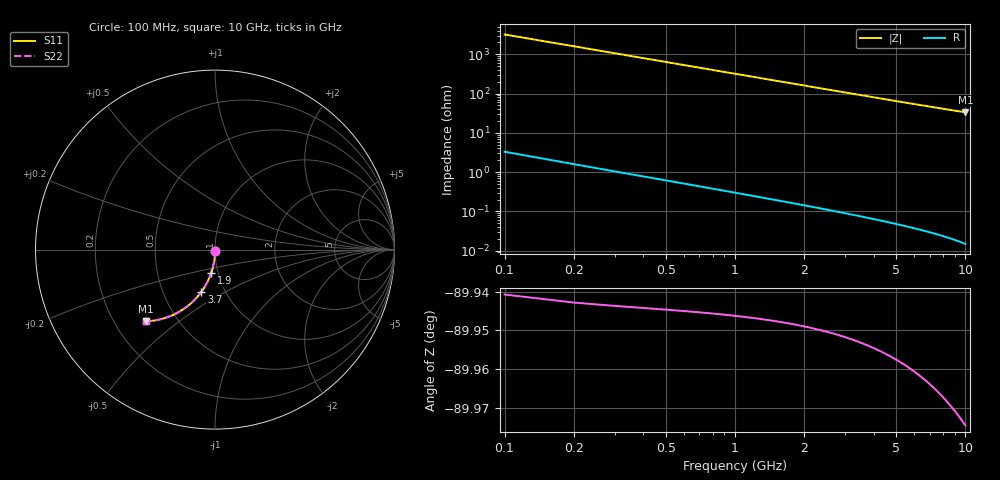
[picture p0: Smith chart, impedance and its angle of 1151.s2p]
# Hz S RI R 50.00
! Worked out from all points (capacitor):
!   100 points, 100 MHz to 10 GHz, reference 50 ohm
!   read as one part in shunt: C = 498 fF near 100 MHz
!   lowest |Z| = 33.4 ohm at 10 GHz (marker M1)
!   S11 on the Smith chart (normalised r, x): 100 MHz: 1.00, -0.01; 1.9 GHz: 0.93, -0.24; 3.7 GHz: 0.77, -0.39; 10 GHz: 0.33, -0.39
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1e8  0.000702 -0.00695  0.9992 -0.00869  0.9992 -0.00869  0.000702 -0.00695
2e8  0.000518 -0.0139  0.999 -0.0174  0.999 -0.0174  0.000518 -0.0139
3e8  0.000213 -0.0208  0.9986 -0.026  0.9986 -0.026  0.000213 -0.0208
4e8  -0.000214 -0.0278  0.9982 -0.0347  0.9982 -0.0347  -0.000214 -0.0278
5e8  -0.000761 -0.0347  0.9976 -0.0434  0.9976 -0.0434  -0.000761 -0.0347
6e8  -0.00143 -0.0416  0.9969 -0.052  0.9969 -0.052  -0.00143 -0.0416
7e8  -0.00222 -0.0485  0.9961 -0.0607  0.9961 -0.0607  -0.00222 -0.0485
8e8  -0.00312 -0.0554  0.9952 -0.0693  0.9952 -0.0693  -0.00312 -0.0554
9e8  -0.00415 -0.0622  0.9941 -0.0779  0.9941 -0.0779  -0.00415 -0.0622
1.1e9  -0.00655 -0.0759  0.9917 -0.095  0.9917 -0.095  -0.00655 -0.0759
1.4e9  -0.011 -0.0961  0.9871 -0.1204  0.9871 -0.1204  -0.011 -0.0961
1.8e9  -0.0185 -0.1225  0.9793 -0.1537  0.9793 -0.1537  -0.0185 -0.1225
1.9e9  -0.0207 -0.129  0.9771 -0.162  0.9771 -0.162  -0.0207 -0.129
2.2e9  -0.0278 -0.1482  0.9698 -0.1864  0.9698 -0.1864  -0.0278 -0.1482
2.6e9  -0.0387 -0.173  0.9586 -0.2181  0.9586 -0.2181  -0.0387 -0.173
3.4e9  -0.065 -0.2194  0.9316 -0.2785  0.9316 -0.2785  -0.065 -0.2194
3.7e9  -0.0762 -0.2356  0.9201 -0.2999  0.9201 -0.2999  -0.0762 -0.2356
4.4e9  -0.1049 -0.2705  0.8905 -0.3471  0.8905 -0.3471  -0.1049 -0.2705
5.1e9  -0.1364 -0.3012  0.8579 -0.3901  0.8579 -0.3901  -0.1364 -0.3012
6.7e9  -0.2155 -0.355  0.7758 -0.4722  0.7758 -0.4722  -0.2155 -0.355
8.4e9  -0.3033 -0.388  0.6839 -0.5356  0.6839 -0.5356  -0.3033 -0.388
1e10  -0.3835 -0.3994  0.5989 -0.5759  0.5989 -0.5759  -0.3835 -0.3994
